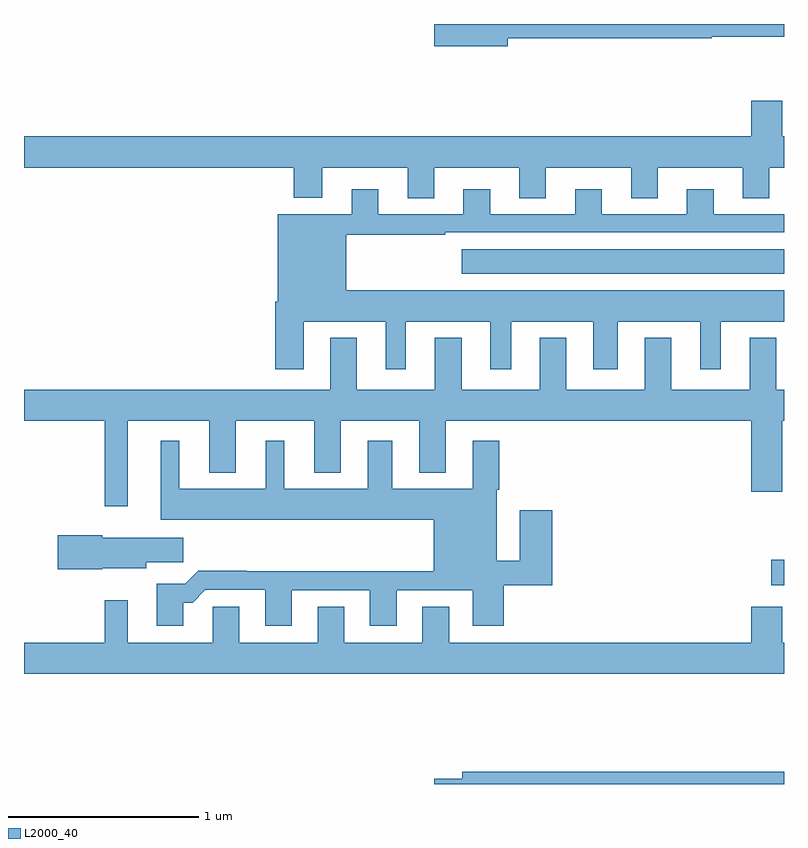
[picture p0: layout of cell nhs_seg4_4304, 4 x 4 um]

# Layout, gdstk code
import gdstk
lib = gdstk.Library(unit=1e-6, precision=1e-09)
def R(c, l, rs):  # rectangles x0, y0, x1, y1
    for r in rs: c.add(gdstk.rectangle(r[:2], r[2:], *l))
def P(c, l, *ps):  # polygons
    for p in ps: c.add(gdstk.Polygon(p, *l))
L2000_40 = (2000, 40)

nhs_seg4_4304 = lib.new_cell('nhs_seg4_4304')
R(nhs_seg4_4304, L2000_40, [(344.934,803.945,345,804.08), (343.305,805.586,345,805.714)])
P(nhs_seg4_4304, L2000_40, [(343.546,806.824),(344.619,806.824),(344.619,806.832),(345,806.832),(345,806.9),(343.158,806.9),(343.158,806.782),(343.546,806.782)],
  [(343.159,806.144),(343.607,806.144),(343.607,805.984),(343.747,805.984),(343.747,806.144),(344.195,806.144),(344.195,805.984),(344.335,805.984),(344.335,806.144),(344.783,806.144),(344.783,805.984),(344.923,805.984),(344.923,806.144),(345,806.144),(345,806.308),(344.992,806.308),(344.992,806.497),(344.828,806.497),(344.828,806.308),(341,806.308),(341,806.144),(342.419,806.144),(342.419,805.985),(342.571,805.985),(342.571,806.144),(343.019,806.144),(343.019,805.984),(343.159,805.984)],
  [(342.472,805.334),(342.905,805.334),(342.905,805.083),(343.009,805.083),(343.009,805.334),(343.454,805.334),(343.454,805.083),(343.564,805.083),(343.564,805.334),(343.997,805.334),(343.997,805.083),(344.125,805.083),(344.125,805.334),(344.558,805.334),(344.558,805.083),(344.668,805.083),(344.668,805.334),(345,805.334),(345,805.498),(342.697,805.498),(342.697,805.791),(343.217,805.791),(343.217,805.803),(345,805.803),(345,805.899),(344.629,805.899),(344.629,806.029),(344.489,806.029),(344.489,805.899),(344.041,805.899),(344.041,806.029),(343.901,806.029),(343.901,805.899),(343.453,805.899),(343.453,806.029),(343.313,806.029),(343.313,805.899),(342.865,805.899),(342.865,806.029),(342.725,806.029),(342.725,805.9),(342.335,805.9),(342.335,805.438),(342.323,805.438),(342.323,805.083),(342.472,805.083)],
  [(341.545,804.812),(341.975,804.812),(341.975,804.539),(342.115,804.539),(342.115,804.812),(342.527,804.812),(342.527,804.539),(342.667,804.539),(342.667,804.812),(343.079,804.812),(343.079,804.539),(343.219,804.539),(343.219,804.812),(344.828,804.812),(344.828,804.438),(344.992,804.438),(344.992,804.812),(345,804.812),(345,804.976),(344.959,804.976),(344.959,805.249),(344.819,805.249),(344.819,804.976),(344.407,804.976),(344.407,805.249),(344.267,805.249),(344.267,804.976),(343.855,804.976),(343.855,805.249),(343.715,805.249),(343.715,804.976),(343.303,804.976),(343.303,805.249),(343.163,805.249),(343.163,804.976),(342.751,804.976),(342.751,805.249),(342.611,805.249),(342.611,804.976),(341,804.976),(341,804.812),(341.424,804.812),(341.424,804.363),(341.545,804.363)],
  [(341.839,803.855),(341.888,803.855),(341.955,803.922),(342.269,803.922),(342.269,803.733),(342.409,803.733),(342.409,803.919),(342.821,803.919),(342.821,803.733),(342.961,803.733),(342.961,803.919),(343.361,803.919),(343.361,803.733),(343.526,803.733),(343.526,803.946),(343.781,803.946),(343.781,804.34),(343.61,804.34),(343.61,804.074),(343.489,804.074),(343.489,804.45),(343.502,804.45),(343.502,804.706),(343.361,804.706),(343.361,804.454),(342.937,804.454),(342.937,804.706),(342.809,804.706),(342.809,804.454),(342.37,804.454),(342.37,804.706),(342.272,804.706),(342.272,804.454),(341.818,804.454),(341.818,804.706),(341.72,804.706),(341.72,804.29),(343.157,804.29),(343.157,804.02),(342.173,804.02),(342.173,804.023),(341.918,804.023),(341.848,803.953),(341.699,803.953),(341.699,803.733),(341.839,803.733)],
  [(341.412,804.035),(341.644,804.035),(341.644,804.067),(341.839,804.067),(341.839,804.196),(341.412,804.196),(341.412,804.209),(341.178,804.209),(341.178,804.031),(341.412,804.031)],
  [(345,803.644),(344.992,803.644),(344.992,803.833),(344.828,803.833),(344.828,803.644),(343.237,803.644),(343.237,803.834),(343.097,803.834),(343.097,803.644),(342.685,803.644),(342.685,803.834),(342.545,803.834),(342.545,803.644),(342.133,803.644),(342.133,803.834),(341.994,803.834),(341.994,803.644),(341.545,803.644),(341.545,803.866),(341.424,803.866),(341.424,803.644),(341,803.644),(341,803.48),(345,803.48)],
  [(345,802.964),(343.307,802.964),(343.307,802.928),(343.158,802.928),(343.158,802.9),(345,802.9)])

lib.write_gds('nhs_seg4_4304.gds')
